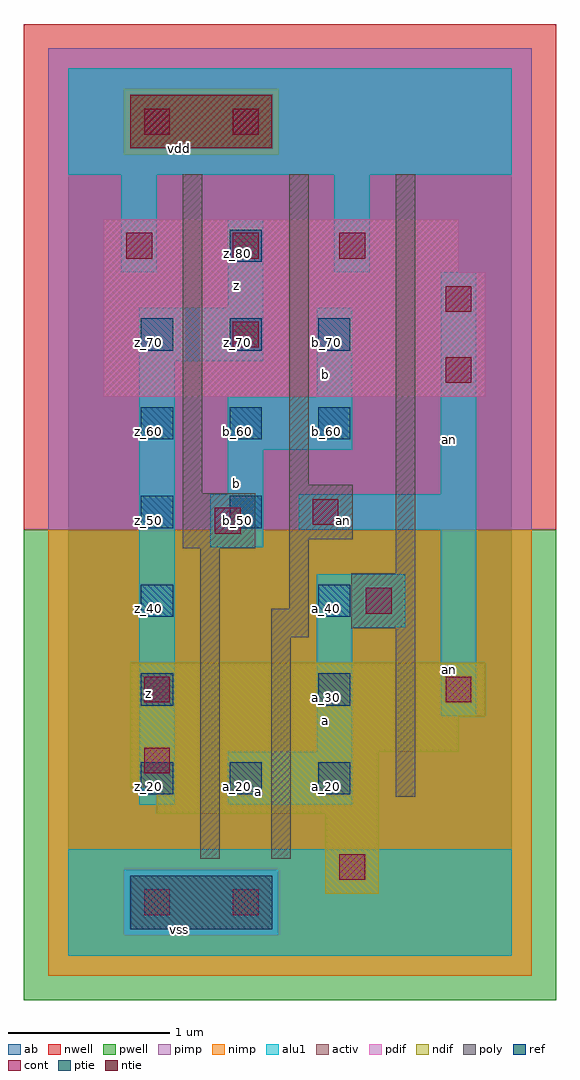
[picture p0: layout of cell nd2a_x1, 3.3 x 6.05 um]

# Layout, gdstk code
import gdstk
lib = gdstk.Library(unit=1e-6, precision=2.5e-09)
def R(c, l, rs):  # rectangles x0, y0, x1, y1
    for r in rs: c.add(gdstk.rectangle(r[:2], r[2:], *l))
def A(c, l, x, y, w, h, nx, ny, dx, dy):  # array of equal rectangles
    R(c, l, [(x+i*dx, y+j*dy, x+i*dx+w, y+j*dy+h) for i in range(nx) for j in range(ny)])
ndif = (3, 0)
pdif = (4, 0)
ntie = (5, 0)
ptie = (6, 0)
ref = (24, 0)
cont = (25, 0)
pwell = (41, 0)
nwell = (42, 0)
activ = (43, 0)
pimp = (44, 0)
nimp = (45, 0)
poly = (46, 0)
alu1 = (49, 0)
ab = (63, 0)

nd2a_x1 = lib.new_cell('nd2a_x1')
R(nd2a_x1, ndif, [(1.595,0.385,1.925,0.88), (0.55,0.88,1.925,1.045), (0.385,1.045,1.925,1.265), (0.385,1.265,2.42,1.485), (0.385,1.485,2.585,1.815)])
R(nd2a_x1, pdif, [(0.22,3.465,2.585,4.235), (0.22,4.235,2.42,4.565)])
R(nd2a_x1, ntie, [(0.385,5.005,1.265,5.335)])
R(nd2a_x1, ptie, [(0.385,0.165,1.265,0.495)])
A(nd2a_x1, ref, 0.45, 1, 0.2, 0.2, 3, 2, 0.55, 2.2)
A(nd2a_x1, ref, 0.45, 1.55, 0.2, 0.2, 1, 3, 0, 0.55)
A(nd2a_x1, ref, 0.45, 3.75, 0.2, 0.2, 3, 1, 0.55, 0)
R(nd2a_x1, ref, [(1.55,1.55,1.75,1.75), (1.55,2.1,1.75,2.3), (1,2.65,1.2,2.85), (1,4.3,1.2,4.5)])
A(nd2a_x1, cont, 0.36, 4.32, 0.16, 0.16, 3, 1, 0.66, 0)
R(nd2a_x1, cont, [(0.47,0.25,0.63,0.41), (1.02,0.25,1.18,0.41), (1.68,0.47,1.84,0.63), (0.47,1.13,0.63,1.29), (0.47,1.57,0.63,1.73), (2.34,1.57,2.5,1.73), (1.845,2.12,2.005,2.28), (0.91,2.615,1.07,2.775), (1.515,2.67,1.675,2.83), (2.34,3.55,2.5,3.71), (1.02,3.77,1.18,3.93), (2.34,3.99,2.5,4.15), (0.47,5.09,0.63,5.25), (1.02,5.09,1.18,5.25)])
R(nd2a_x1, pwell, [(-0.275,-0.275,3.025,2.64)])
R(nd2a_x1, nwell, [(-0.275,2.64,3.025,5.775)])
R(nd2a_x1, activ, [(0.385,0.165,1.265,0.495), (1.595,0.385,1.925,0.88), (0.55,0.88,1.925,1.045), (0.385,1.045,1.925,1.265), (0.385,1.265,2.42,1.485), (0.385,1.485,2.585,1.815), (0.22,3.465,2.585,4.235), (0.22,4.235,2.42,4.565), (0.385,5.005,1.265,5.335)])
R(nd2a_x1, pimp, [(0.345,0.125,1.305,0.535), (-0.125,2.64,2.875,4.965), (-0.125,4.965,0.345,5.375), (1.305,4.965,2.875,5.375), (-0.125,5.375,2.875,5.625)])
R(nd2a_x1, nimp, [(-0.125,-0.125,2.875,0.125), (-0.125,0.125,0.345,0.535), (1.305,0.125,2.875,0.535), (-0.125,0.535,2.875,2.64), (0.345,4.965,1.305,5.375)])
R(nd2a_x1, poly, [(0.82,0.6,0.94,2.525), (1.26,0.6,1.38,1.975), (2.03,0.985,2.15,2.03), (1.26,1.975,1.49,2.15), (1.755,2.03,2.15,2.37), (1.37,2.15,1.49,2.58), (2.03,2.37,2.15,4.845), (0.71,2.525,1.16,2.865), (1.37,2.58,1.765,2.92), (0.71,2.865,0.83,4.845), (1.37,2.92,1.49,4.845)])
R(nd2a_x1, alu1, [(0,0,2.75,0.66), (0.44,0.935,0.66,3.685), (0.99,0.935,1.76,1.265), (1.54,1.265,1.76,2.035), (2.31,1.485,2.53,2.64), (1.54,2.035,2.09,2.365), (0.88,2.53,1.21,2.86), (1.43,2.64,2.53,2.86), (0.99,2.86,1.21,3.135), (2.31,2.86,2.53,4.235), (0.99,3.135,1.76,3.465), (1.54,3.465,1.76,4.015), (0.44,3.685,1.21,4.015), (0.99,4.015,1.21,4.565), (0.33,4.235,0.55,4.84), (1.65,4.235,1.87,4.84), (0,4.84,2.75,5.5)])
R(nd2a_x1, ab, [(0,0,2.75,5.5)])
nd2a_x1.add(gdstk.Label('vss', (0.6875,0.165), layer=49, texttype=0))
nd2a_x1.add(gdstk.Label('a', (1.1825,1.0175), layer=49, texttype=0))
nd2a_x1.add(gdstk.Label('an', (2.365,1.7725), layer=49, texttype=0))
nd2a_x1.add(gdstk.Label('a', (1.595,1.4575), layer=49, texttype=0))
nd2a_x1.add(gdstk.Label('an', (1.705,2.695), layer=49, texttype=0))
nd2a_x1.add(gdstk.Label('an', (2.365,3.2025), layer=49, texttype=0))
nd2a_x1.add(gdstk.Label('b', (1.045,2.9275), layer=49, texttype=0))
nd2a_x1.add(gdstk.Label('b', (1.595,3.6025), layer=49, texttype=0))
nd2a_x1.add(gdstk.Label('z', (0.495,1.6225), layer=49, texttype=0))
nd2a_x1.add(gdstk.Label('z', (1.045,4.1525), layer=49, texttype=0))
nd2a_x1.add(gdstk.Label('vdd', (0.6875,5.005), layer=49, texttype=0))
nd2a_x1.add(gdstk.Label('z_20', (0.5,1.05), layer=24, texttype=0))
nd2a_x1.add(gdstk.Label('z_30', (0.5,1.6), layer=24, texttype=0))
nd2a_x1.add(gdstk.Label('z_70', (0.5,3.8), layer=24, texttype=0))
nd2a_x1.add(gdstk.Label('a_30', (1.6,1.6), layer=24, texttype=0))
nd2a_x1.add(gdstk.Label('a_40', (1.6,2.15), layer=24, texttype=0))
nd2a_x1.add(gdstk.Label('b_70', (1.6,3.8), layer=24, texttype=0))
nd2a_x1.add(gdstk.Label('b_60', (1.6,3.25), layer=24, texttype=0))
nd2a_x1.add(gdstk.Label('b_60', (1.05,3.25), layer=24, texttype=0))
nd2a_x1.add(gdstk.Label('z_80', (1.05,4.35), layer=24, texttype=0))
nd2a_x1.add(gdstk.Label('z_40', (0.5,2.15), layer=24, texttype=0))
nd2a_x1.add(gdstk.Label('z_50', (0.5,2.7), layer=24, texttype=0))
nd2a_x1.add(gdstk.Label('z_60', (0.5,3.25), layer=24, texttype=0))
nd2a_x1.add(gdstk.Label('z_70', (1.05,3.8), layer=24, texttype=0))
nd2a_x1.add(gdstk.Label('b_50', (1.05,2.7), layer=24, texttype=0))
nd2a_x1.add(gdstk.Label('a_20', (1.6,1.05), layer=24, texttype=0))
nd2a_x1.add(gdstk.Label('a_20', (1.05,1.05), layer=24, texttype=0))

lib.write_gds('nd2a_x1.gds')
